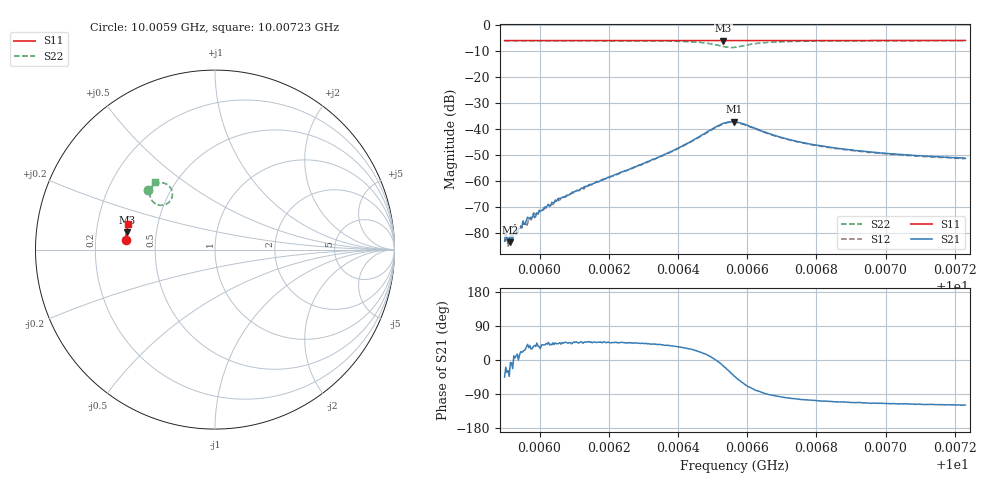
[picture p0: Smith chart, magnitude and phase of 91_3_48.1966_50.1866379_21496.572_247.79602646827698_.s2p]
#  HZ  S  RI  R  50.00
! Rohde & Schwarz Vector Network Analyzer
! Rohde-Schwarz,ZNB20-2Port,1311601062101988,3.16
! Created: UTC 3/20/2024, 11:40:06 AM
! freq[Hz]  re:S11  im:S11  re:S21  im:S21  re:S12  im:S12  re:S22  im:S22
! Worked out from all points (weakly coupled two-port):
!   401 points, 10.0059 GHz to 10.00723 GHz, reference 50 ohm
!   highest |S21| = -37.24 dB at 10.00656 GHz (marker M1); lowest = -83.8 dB at 10.00592 GHz (marker M2)
!   lowest |S11| = -6.0 dB at 10.00653 GHz (marker M3), VSWR 3.01, Z = 16.8 + j4.33 ohm
!   |S11| at or under -10 dB: nowhere
!   |S22| runs from -8.7 to -6.0 dB; largest |S21 - S12| = 0.0009
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1.0005899e10  -0.4983 0.056  4.85e-05 -4.84e-05  4.17e-05 -5.22e-05  -0.3717 0.3316
1.0005916e10  -0.498 0.0572  6.45e-05 -7.76e-06  9.87e-05 -1.52e-05  -0.3708 0.3326
1.0005932e10  -0.4979 0.0581  0.000114 2.22e-05  8.67e-05 1.16e-05  -0.3699 0.3338
1.0005939e10  -0.4978 0.0586  0.000111 2.38e-07  0.000115 1.56e-05  -0.3694 0.3343
1.0005952e10  -0.4978 0.0593  0.000156 6.46e-05  0.000131 7.11e-05  -0.3687 0.3351
1.0005956e10  -0.4977 0.0598  0.000131 6.22e-05  0.000136 4.85e-05  -0.3686 0.3353
1.0005969e10  -0.4977 0.0606  0.000155 9.82e-05  0.000169 9.14e-05  -0.3678 0.3361
1.0005979e10  -0.4976 0.0612  0.000169 9.76e-05  0.000147 0.000128  -0.3672 0.3368
1.0006049e10  -0.4972 0.0658  0.000294 0.000274  0.000325 0.000288  -0.3626 0.3417
1.0006122e10  -0.4968 0.0707  0.00049 0.000531  0.000445 0.00053  -0.3572 0.347
1.0006345e10  -0.4949 0.0852  0.00216 0.00189  0.00203 0.00193  -0.3289 0.3667
1.0006418e10  -0.4939 0.0901  0.00416 0.00262  0.00395 0.00273  -0.3051 0.3724
1.0006468e10  -0.4932 0.0932  0.0071 0.00252  0.00678 0.00278  -0.2757 0.3673
1.0006532e10  -0.4917 0.0967  0.0124 -0.00348  0.0121 -0.00282  -0.2376 0.3021
1.0006562e10  -0.4916 0.0981  0.0103 -0.00912  0.0105 -0.00824  -0.2673 0.2558
1.0006565e10  -0.4915 0.0983  0.00978 -0.00946  0.01 -0.0088  -0.2728 0.2528
1.0006638e10  -0.4916 0.1026  0.00101 -0.00928  0.00136 -0.00909  -0.3537 0.2773
1.0006711e10  -0.4911 0.1075  -0.00106 -0.0064  -0.000767 -0.00631  -0.3625 0.3126
1.0006788e10  -0.4901 0.1125  -0.00141 -0.0048  -0.00115 -0.00478  -0.3589 0.3321
1.0006878e10  -0.4891 0.1182  -0.00146 -0.00383  -0.00126 -0.0038  -0.3529 0.3459
1.0007011e10  -0.4873 0.1268  -0.00142 -0.00302  -0.00121 -0.00301  -0.3446 0.359
1.0007231e10  -0.484 0.1407  -0.00131 -0.00237  -0.00118 -0.00241  -0.3316 0.3745
